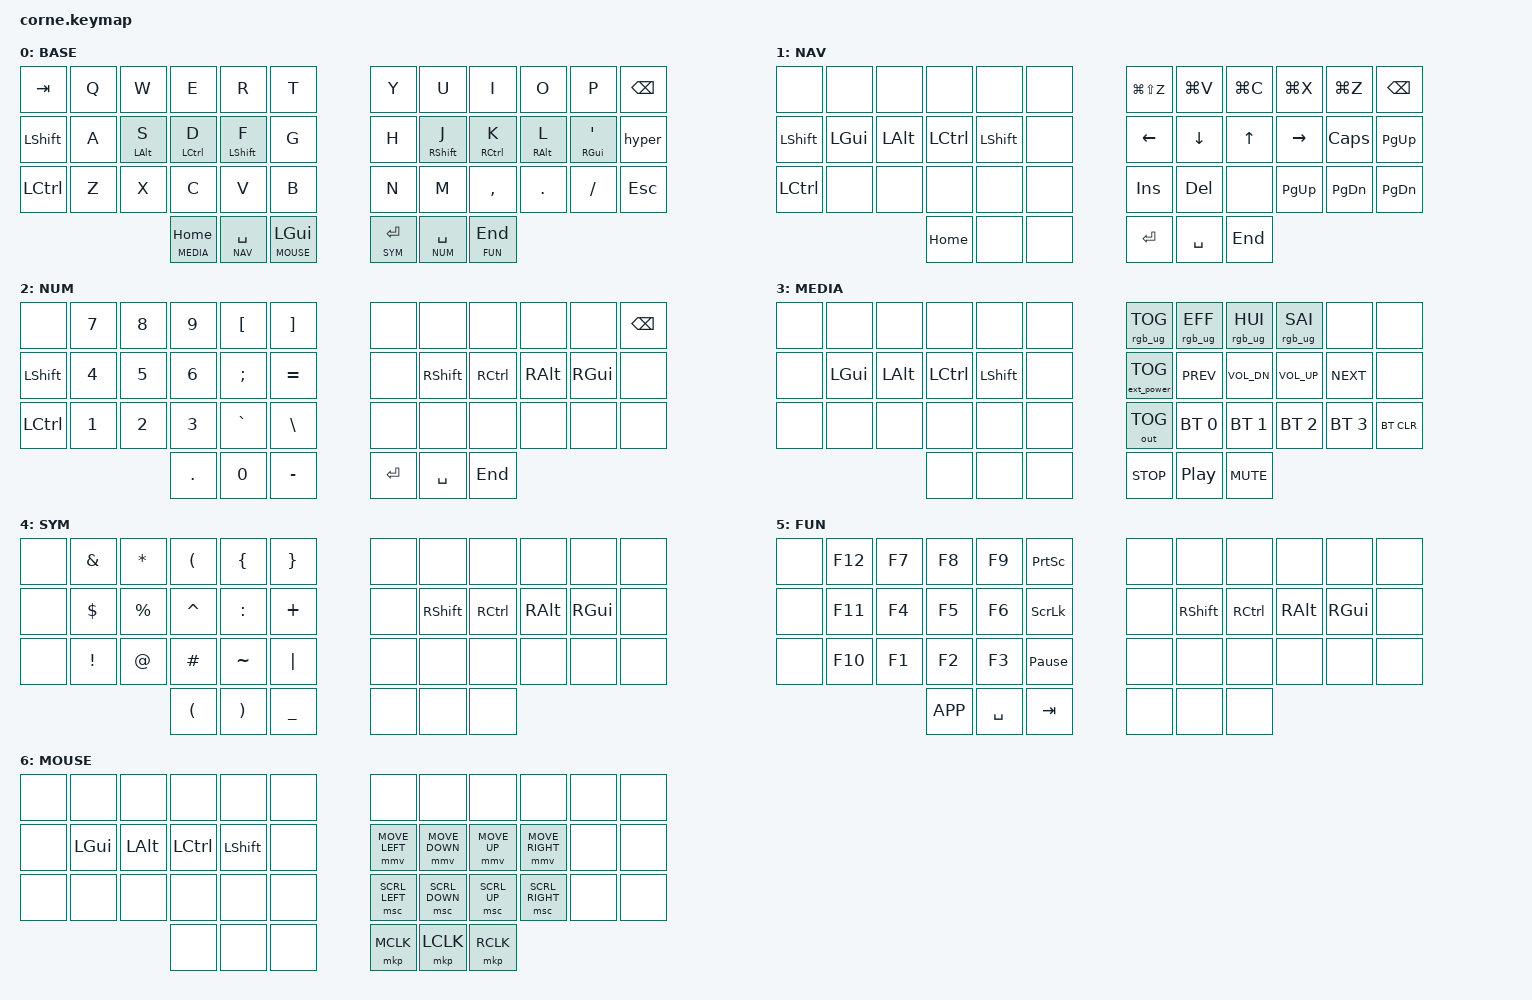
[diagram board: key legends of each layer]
/*
 * Copyright (c) 2020 The ZMK Contributors
 *
 * SPDX-License-Identifier: MIT
 */

//
//   Miryoku-style layout — QWERTY base, vim arrows (HJKL), GACS home row mods
//   Adapted from TOTEM config for Corne (42-key)
//
//   Layer 0: BASE    — QWERTY + home row mods
//   Layer 1: NAV     — vim arrows, clipboard, nav (hold SPACE)
//   Layer 2: NUM     — numpad left hand (hold BSPC)
//   Layer 3: MEDIA   — media, BT, RGB (hold ESC)
//   Layer 4: SYM     — symbols left hand (hold ENTER)
//   Layer 5: FUN     — function keys left hand (hold DEL)
//   Layer 6: MOUSE   — mouse movement, scroll, buttons (hold TAB)

#include <behaviors.dtsi>
#include <dt-bindings/zmk/bt.h>
#include <dt-bindings/zmk/ext_power.h>
#include <dt-bindings/zmk/keys.h>
#include <dt-bindings/zmk/outputs.h>
#include <dt-bindings/zmk/pointing.h>
#include <dt-bindings/zmk/rgb.h>

#define BASE  0
#define NAV   1
#define NUM   2
#define MEDIA 3
#define SYM   4
#define FUN   5
#define MOUSE 6

// Corne key positions (42 keys):
// Row 0:  0  1  2  3  4  5    6  7  8  9  10  11
// Row 1: 12 13 14 15 16 17   18 19 20 21  22  23
// Row 2: 24 25 26 27 28 29   30 31 32 33  34  35
// Thumb:          36 37 38   39 40 41

&mt {
    flavor = "tap-preferred";
    tapping-term-ms = <200>;
    quick-tap-ms = <175>;
    require-prior-idle-ms = <150>;
};

&lt {
    flavor = "balanced";
    tapping-term-ms = <200>;
    quick-tap-ms = <175>;
};

/ {
    combos {
        compatible = "zmk,combos";

        // -- Tier 1: Essential --

        combo_caps_word {
            bindings = <&caps_word>;
            key-positions = <16 19>;        // F + J (index home row)
            timeout-ms = <30>;
            require-prior-idle-ms = <150>;
        };

        combo_esc {
            bindings = <&kp ESC>;
            key-positions = <2 3>;          // W + E
            timeout-ms = <30>;
            require-prior-idle-ms = <150>;
        };

        combo_bspc {
            bindings = <&kp BSPC>;
            key-positions = <8 9>;          // I + O
            timeout-ms = <30>;
            require-prior-idle-ms = <150>;
        };

        combo_del {
            bindings = <&kp DEL>;
            key-positions = <9 10>;         // O + P
            timeout-ms = <30>;
            require-prior-idle-ms = <150>;
        };

        // -- Tier 2: High Value --

        combo_tab {
            bindings = <&kp TAB>;
            key-positions = <14 15>;        // S + D
            timeout-ms = <30>;
            require-prior-idle-ms = <150>;
        };

        combo_enter {
            bindings = <&kp RET>;
            key-positions = <20 21>;        // K + L
            timeout-ms = <30>;
            require-prior-idle-ms = <150>;
        };

        combo_copy {
            bindings = <&kp LG(C)>;
            key-positions = <26 27>;        // X + C
            timeout-ms = <30>;
            require-prior-idle-ms = <150>;
        };

        combo_paste {
            bindings = <&kp LG(V)>;
            key-positions = <27 28>;        // C + V
            timeout-ms = <30>;
            require-prior-idle-ms = <150>;
        };

        combo_cut {
            bindings = <&kp LG(X)>;
            key-positions = <26 28>;        // X + V (skip middle)
            timeout-ms = <30>;
            require-prior-idle-ms = <150>;
        };

        // -- Tier 3: Vertical Symbol Combos --

        combo_minus {
            bindings = <&kp MINUS>;
            key-positions = <19 31>;        // J + M (right index vertical)
            timeout-ms = <40>;
            require-prior-idle-ms = <100>;
        };

        combo_underscore {
            bindings = <&kp UNDER>;
            key-positions = <18 30>;        // H + N (right inner vertical)
            timeout-ms = <40>;
            require-prior-idle-ms = <100>;
        };

        combo_equal {
            bindings = <&kp EQUAL>;
            key-positions = <16 28>;        // F + V (left index vertical)
            timeout-ms = <40>;
            require-prior-idle-ms = <100>;
        };

        combo_grave {
            bindings = <&kp GRAVE>;
            key-positions = <14 26>;        // S + X (left ring vertical)
            timeout-ms = <40>;
            require-prior-idle-ms = <100>;
        };

        combo_semi {
            bindings = <&kp SEMI>;
            key-positions = <21 22>;        // L + ' (right ring+pinky home)
            timeout-ms = <30>;
            require-prior-idle-ms = <150>;
        };
    };

    macros {
        hyper: hyper {
            compatible = "zmk,behavior-macro";
            #binding-cells = <0>;
            bindings =
                <&macro_press &kp LGUI &kp LALT &kp LCTRL &kp LSHFT>,
                <&macro_pause_for_release>,
                <&macro_release &kp LGUI &kp LALT &kp LCTRL &kp LSHFT>;
        };
    };

    keymap {
        compatible = "zmk,keymap";

        base_layer {
            display-name = "BASE";
            bindings = <
&kp TAB        &kp Q       &kp W       &kp E         &kp R         &kp T          &kp Y       &kp U         &kp I         &kp O        &kp P        &kp BSPC
&kp LSHIFT     &kp A       &mt LALT S  &mt LCTRL D   &mt LSHFT F   &kp G          &kp H       &mt RSHFT J   &mt RCTRL K   &mt RALT L   &mt RGUI SQT &hyper
&kp LCTRL      &kp Z       &kp X       &kp C         &kp V         &kp B          &kp N       &kp M         &kp COMMA     &kp DOT      &kp FSLH     &kp ESC
                                        &lt MEDIA HOME &lt NAV SPACE &lt MOUSE LGUI &lt SYM RET &lt NUM SPACE &lt FUN END
            >;
        };

        nav_layer {
            display-name = "NAV";
            bindings = <
&none          &none       &none       &none         &none         &none          &kp LG(LS(Z)) &kp LG(V)   &kp LG(C)     &kp LG(X)    &kp LG(Z)    &kp BSPC
&kp LSHIFT     &kp LGUI    &kp LALT    &kp LCTRL     &kp LSHFT     &none          &kp LEFT    &kp DOWN      &kp UP        &kp RIGHT    &kp CAPS     &kp PG_UP
&kp LCTRL      &none       &none       &none         &none         &none          &kp INS     &kp DEL       &none         &kp PG_UP    &kp PG_DN    &kp PG_DN
                                       &kp HOME      &none         &none          &kp RET     &kp SPACE     &kp END
            >;
        };

        num_layer {
            display-name = "NUM";
            bindings = <
&none          &kp N7     &kp N8      &kp N9         &kp LBKT        &kp RBKT       &none       &none         &none         &none        &none        &kp BSPC
&kp LSHIFT     &kp N4     &kp N5      &kp N6         &kp SEMI        &kp EQUAL      &none       &kp RSHFT     &kp RCTRL     &kp RALT     &kp RGUI     &none
&kp LCTRL      &kp N1     &kp N2      &kp N3         &kp GRAVE       &kp BSLH       &none       &none         &none         &none        &none        &none
                                       &kp DOT       &kp N0          &kp MINUS      &kp RET     &kp SPACE     &kp END
            >;
        };

        media_layer {
            display-name = "MEDIA";
            bindings = <
&none          &none       &none       &none         &none         &none          &rgb_ug RGB_TOG &rgb_ug RGB_EFF &rgb_ug RGB_HUI &rgb_ug RGB_SAI &none      &none
&none          &kp LGUI    &kp LALT    &kp LCTRL     &kp LSHFT     &none          &ext_power EP_TOG &kp C_PREV  &kp C_VOL_DN  &kp C_VOL_UP &kp C_NEXT   &none
&none          &none       &none       &none         &none         &none          &out OUT_TOG &bt BT_SEL 0  &bt BT_SEL 1  &bt BT_SEL 2 &bt BT_SEL 3 &bt BT_CLR
                                       &none         &none         &none          &kp C_STOP  &kp C_PP      &kp C_MUTE
            >;
        };

        sym_layer {
            display-name = "SYM";
            bindings = <
&none          &kp AMPS    &kp ASTRK     &kp LPAR      &kp LBRC    &kp RBRC       &none       &none         &none         &none        &none        &none
&none          &kp DLLR    &kp PRCNT     &kp CARET     &kp COLON   &kp PLUS       &none       &kp RSHFT     &kp RCTRL     &kp RALT     &kp RGUI     &none
&none          &kp EXCL    &kp AT        &kp HASH      &kp TILDE   &kp PIPE       &none       &none         &none         &none        &none        &none
                                         &kp LPAR      &kp RPAR    &kp UNDER      &none       &none         &none
            >;
        };

        fun_layer {
            display-name = "FUN";
            bindings = <
&none          &kp F12     &kp F7      &kp F8        &kp F9        &kp PSCRN      &none       &none         &none         &none        &none        &none
&none          &kp F11     &kp F4      &kp F5        &kp F6        &kp SLCK       &none       &kp RSHFT     &kp RCTRL     &kp RALT     &kp RGUI     &none
&none          &kp F10     &kp F1      &kp F2        &kp F3        &kp PAUSE_BREAK &none      &none         &none         &none        &none        &none
                                       &kp K_APP     &kp SPACE     &kp TAB        &none       &none         &none
            >;
        };

        mouse_layer {
            display-name = "MOUSE";
            bindings = <
&none          &none       &none       &none         &none         &none          &none            &none            &none          &none             &none        &none
&none          &kp LGUI    &kp LALT    &kp LCTRL     &kp LSHFT     &none          &mmv MOVE_LEFT   &mmv MOVE_DOWN   &mmv MOVE_UP   &mmv MOVE_RIGHT   &none        &none
&none          &none       &none       &none         &none         &none          &msc SCRL_LEFT   &msc SCRL_DOWN   &msc SCRL_UP   &msc SCRL_RIGHT   &none        &none
                                       &none         &none         &none          &mkp MCLK        &mkp LCLK        &mkp RCLK
            >;
        };
    };
};
